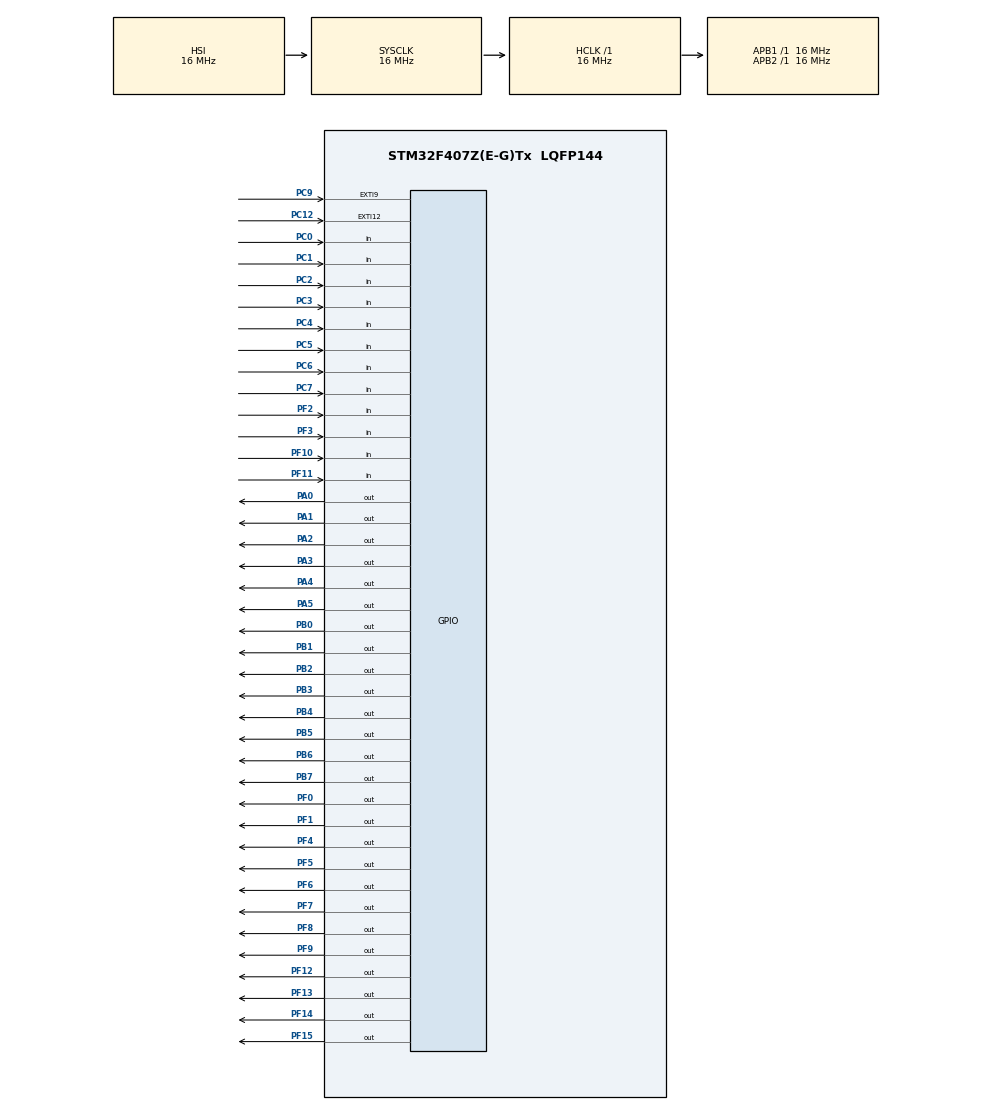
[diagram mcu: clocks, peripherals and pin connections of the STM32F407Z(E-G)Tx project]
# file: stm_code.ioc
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Mcu.Family=STM32F4
Mcu.Name=STM32F407Z(E-G)Tx
Mcu.Package=LQFP144
NVIC.EXTI15_10_IRQn=true\:0\:0\:false\:false\:true\:true\:true\:true
NVIC.EXTI9_5_IRQn=true\:0\:0\:false\:false\:true\:true\:true\:true
NVIC.PriorityGroup=NVIC_PRIORITYGROUP_4
NVIC.TIM4_IRQn=true\:0\:0\:false\:false\:true\:true\:true\:true
PA0-WKUP.Signal=GPIO_Output
PA1.Signal=GPIO_Output
PA2.Signal=GPIO_Output
PA3.Signal=GPIO_Output
PA4.Signal=GPIO_Output
PA5.Signal=GPIO_Output
PB0.Signal=GPIO_Output
PB1.Signal=GPIO_Output
PB2.Signal=GPIO_Output
PB3.Signal=GPIO_Output
PB4.Signal=GPIO_Output
PB5.Signal=GPIO_Output
PB6.Signal=GPIO_Output
PB7.Signal=GPIO_Output
PC0.Signal=GPIO_Input
PC1.Signal=GPIO_Input
PC12.Signal=GPXTI12
PC14-OSC32_IN.Mode=LSE-External-Oscillator
PC14-OSC32_IN.Signal=RCC_OSC32_IN
PC15-OSC32_OUT.Mode=LSE-External-Oscillator
PC15-OSC32_OUT.Signal=RCC_OSC32_OUT
PC2.Signal=GPIO_Input
PC3.Signal=GPIO_Input
PC4.Signal=GPIO_Input
PC5.Signal=GPIO_Input
PC6.Signal=GPIO_Input
PC7.Signal=GPIO_Input
PC9.Signal=GPXTI9
PF0.Signal=GPIO_Output
PF1.Signal=GPIO_Output
PF10.Signal=GPIO_Input
PF11.Signal=GPIO_Input
PF12.Signal=GPIO_Output
PF13.Signal=GPIO_Output
PF14.Signal=GPIO_Output
PF15.Signal=GPIO_Output
PF2.Signal=GPIO_Input
PF3.Signal=GPIO_Input
PF4.Signal=GPIO_Output
PF5.Signal=GPIO_Output
PF6.Signal=GPIO_Output
PF7.Signal=GPIO_Output
PF8.Signal=GPIO_Output
PF9.Signal=GPIO_Output
PH0-OSC_IN.Mode=HSE-External-Oscillator
PH0-OSC_IN.Signal=RCC_OSC_IN
PH1-OSC_OUT.Mode=HSE-External-Oscillator
PH1-OSC_OUT.Signal=RCC_OSC_OUT
ProjectManager.HeapSize=0x200
ProjectManager.StackSize=0x400
ProjectManager.TargetToolchain=Makefile
RCC.AHBFreq_Value=16000000
RCC.APB1Freq_Value=16000000
RCC.APB2Freq_Value=16000000
RCC.APB2TimCLKDivider=2
RCC.APB2TimFreq_Value=32000000
RCC.CortexFreq_Value=16000000
RCC.HSE_VALUE=25000000
RCC.HSI_VALUE=16000000
RCC.SYSCLKFreq_VALUE=16000000
RCC.VCOOutputFreq_Value=192000000
VP_TIM4_VS_ClockSourceINT.Mode=Internal
board=custom

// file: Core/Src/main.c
/* USER CODE BEGIN Header */
/**
  ******************************************************************************
  * @file           : main.c
  * @brief          : Main program body
  ******************************************************************************
  * @attention
  *
  * Copyright (c) 2025 STMicroelectronics.
  * All rights reserved.
  *
  * This software is licensed under terms that can be found in the LICENSE file
  * in the root directory of this software component.
  * If no LICENSE file comes with this software, it is provided AS-IS.
  *
  ******************************************************************************
  */
/* USER CODE END Header */
#include "main.h"

/* USER CODE BEGIN Includes */
#include <string.h>
/* USER CODE END Includes */

TIM_HandleTypeDef htim4;

/* USER CODE BEGIN PV */
SystemState_t sys_state = {0};
volatile uint8_t display_buffer[8] = {0};
volatile uint8_t current_digit = 0;

// 数码管段码表 (共阴数码管: 0-9, A-F)
const uint8_t DigitCode[16] = {
    0x3F, // 0
    0x06, // 1
    0x5B, // 2
    0x4F, // 3
    0x66, // 4
    0x6D, // 5
    0x7D, // 6
    0x07, // 7
    0x7F, // 8
    0x6F, // 9
    0x77, // A
    0x7C, // B
    0x39, // C
    0x5E, // D
    0x79, // E
    0x71  // F
};
/* USER CODE END PV */

void SystemClock_Config(void);
static void MX_GPIO_Init(void);
static void MX_TIM4_Init(void);

/* USER CODE BEGIN 0 */

// 74HC595发送一个字节
void HC595_SendByte(uint8_t data) {
    HAL_GPIO_WritePin(HC595_RCK_PORT, HC595_RCK_PIN, GPIO_PIN_RESET);

    for (int i = 7; i >= 0; i--) {
        HAL_GPIO_WritePin(HC595_SCK_PORT, HC595_SCK_PIN, GPIO_PIN_RESET);

        if (data & (1 << i)) {
            HAL_GPIO_WritePin(HC595_SI_PORT, HC595_SI_PIN, GPIO_PIN_SET);
        } else {
            HAL_GPIO_WritePin(HC595_SI_PORT, HC595_SI_PIN, GPIO_PIN_RESET);
        }

        HAL_GPIO_WritePin(HC595_SCK_PORT, HC595_SCK_PIN, GPIO_PIN_SET);
    }

    HAL_GPIO_WritePin(HC595_RCK_PORT, HC595_RCK_PIN, GPIO_PIN_SET);
}

// 74HC138选择数码管位
void HC138_Select(uint8_t digit) {
    HAL_GPIO_WritePin(HC138_A_PORT, HC138_A_PIN, (digit & 0x01) ? GPIO_PIN_SET : GPIO_PIN_RESET);
    HAL_GPIO_WritePin(HC138_B_PORT, HC138_B_PIN, (digit & 0x02) ? GPIO_PIN_SET : GPIO_PIN_RESET);
    HAL_GPIO_WritePin(HC138_C_PORT, HC138_C_PIN, (digit & 0x04) ? GPIO_PIN_SET : GPIO_PIN_RESET);
}

// 显示单个数码管
void Display_Digit(uint8_t digit, uint8_t value) {
    HC138_Select(digit);
    HC595_SendByte(value);
}

// 更新数码管显示 (在定时器中断中调用)
void Update_Display(void) {
    // 清除当前显示
    HC595_SendByte(0x00);

    // 选择下一位
    current_digit = (current_digit + 1) % 8;

    // 显示内容
    HC138_Select(current_digit);
    HC595_SendByte(display_buffer[current_digit]);
}

// 读取拨码开关状态
void Read_Switches(void) {
    uint8_t sw_value = (GPIOC->IDR & 0xFF); // PC0-PC7

    sys_state.write_mode = (sw_value & 0x01) ? 1 : 0;        // SW0
    sys_state.ram_select = (sw_value & 0x02) ? 1 : 0;        // SW1
    sys_state.data_to_write = (sw_value >> 2) & 0x03;        // SW2,SW3
    sys_state.addr = (sw_value >> 4) & 0x03;                 // SW4,SW5
}

// 更新LED显示
void Update_LEDs(void) {
    uint8_t led_state = 0;

    // LED0: 始终亮表示系统运行
    led_state |= 0x01;

    // LED1: 写入模式时亮
    if (sys_state.write_mode) {
        led_state |= 0x02;
    }

    // LED2: 选择RAM0时亮
    if (!sys_state.ram_select) {
        led_state |= 0x04;
    }

    // LED3: 选择RAM1时亮
    if (sys_state.ram_select) {
        led_state |= 0x08;
    }

    // LED4,LED5: 显示地址
    if (sys_state.addr & 0x01) {
        led_state |= 0x10;
    }
    if (sys_state.addr & 0x02) {
        led_state |= 0x20;
    }

    // 写入LED端口
    GPIOB->ODR = (GPIOB->ODR & 0xFF00) | led_state;
}

// RAM初始化
void RAM_Init(void) {
    // 设置初始状态
    HAL_GPIO_WritePin(RAM_CLKA_PORT, RAM_CLKA_PIN, GPIO_PIN_RESET);
    HAL_GPIO_WritePin(RAM_CLKB_PORT, RAM_CLKB_PIN, GPIO_PIN_RESET);
    HAL_GPIO_WritePin(RAM_WEA_PORT, RAM_WEA_PIN, GPIO_PIN_RESET);
    HAL_GPIO_WritePin(RAM_WEB_PORT, RAM_WEB_PIN, GPIO_PIN_RESET);

    // 使能RAM芯片
    HAL_GPIO_WritePin(RAM_ENA_PORT, RAM_ENA_PIN, GPIO_PIN_SET);
    HAL_GPIO_WritePin(RAM_ENB_PORT, RAM_ENB_PIN, GPIO_PIN_SET);
}

// 向RAM写入数据
void RAM_Write(uint8_t ram_sel, uint8_t addr, uint8_t data) {
    if (ram_sel == 0) {
        // 写入RAM0 (使用端口A)
        // 1. 设置地址
        HAL_GPIO_WritePin(RAM_ADDRA_PORT, RAM_ADDRA_PIN, (addr & 0x01) ? GPIO_PIN_SET : GPIO_PIN_RESET);
        for(volatile int i=0; i<100; i++); // 地址稳定延时

        // 2. 设置数据（在时钟上升沿之前）
        HAL_GPIO_WritePin(RAM_DIA0_PORT, RAM_DIA0_PIN, (data & 0x01) ? GPIO_PIN_SET : GPIO_PIN_RESET);
        HAL_GPIO_WritePin(RAM_DIA1_PORT, RAM_DIA1_PIN, (data & 0x02) ? GPIO_PIN_SET : GPIO_PIN_RESET);
        for(volatile int i=0; i<100; i++); // 数据稳定延时

        // 3. 拉高写使能
        HAL_GPIO_WritePin(RAM_WEA_PORT, RAM_WEA_PIN, GPIO_PIN_SET);
        for(volatile int i=0; i<100; i++); // WE稳定延时

        // 4. 时钟上升沿写入
        HAL_GPIO_WritePin(RAM_CLKA_PORT, RAM_CLKA_PIN, GPIO_PIN_RESET);
        for(volatile int i=0; i<100; i++); // 时钟低电平稳定
        HAL_GPIO_WritePin(RAM_CLKA_PORT, RAM_CLKA_PIN, GPIO_PIN_SET);
        for(volatile int i=0; i<200; i++); // 时钟高电平稳定，完成写入

        // 5. 复位所有控制信号（重要：防止代码变成一次性的）
        HAL_GPIO_WritePin(RAM_CLKA_PORT, RAM_CLKA_PIN, GPIO_PIN_RESET);
        HAL_GPIO_WritePin(RAM_WEA_PORT, RAM_WEA_PIN, GPIO_PIN_RESET);
        HAL_GPIO_WritePin(RAM_DIA0_PORT, RAM_DIA0_PIN, GPIO_PIN_RESET);
        HAL_GPIO_WritePin(RAM_DIA1_PORT, RAM_DIA1_PIN, GPIO_PIN_RESET);
        for(volatile int i=0; i<100; i++); // 确保信号复位稳定
    } else {
        // 写入RAM1 (使用端口B)
        // 1. 设置地址
        HAL_GPIO_WritePin(RAM_ADDRB_PORT, RAM_ADDRB_PIN, (addr & 0x01) ? GPIO_PIN_SET : GPIO_PIN_RESET);
        for(volatile int i=0; i<100; i++); // 地址稳定延时

        // 2. 设置数据（在时钟上升沿之前）
        HAL_GPIO_WritePin(RAM_DIB0_PORT, RAM_DIB0_PIN, (data & 0x01) ? GPIO_PIN_SET : GPIO_PIN_RESET);
        HAL_GPIO_WritePin(RAM_DIB1_PORT, RAM_DIB1_PIN, (data & 0x02) ? GPIO_PIN_SET : GPIO_PIN_RESET);
        for(volatile int i=0; i<100; i++); // 数据稳定延时

        // 3. 拉高写使能
        HAL_GPIO_WritePin(RAM_WEB_PORT, RAM_WEB_PIN, GPIO_PIN_SET);
        for(volatile int i=0; i<100; i++); // WE稳定延时

        // 4. 时钟上升沿写入
        HAL_GPIO_WritePin(RAM_CLKB_PORT, RAM_CLKB_PIN, GPIO_PIN_RESET);
        for(volatile int i=0; i<100; i++); // 时钟低电平稳定
        HAL_GPIO_WritePin(RAM_CLKB_PORT, RAM_CLKB_PIN, GPIO_PIN_SET);
        for(volatile int i=0; i<200; i++); // 时钟高电平稳定，完成写入

        // 5. 复位所有控制信号（重要：防止代码变成一次性的）
        HAL_GPIO_WritePin(RAM_CLKB_PORT, RAM_CLKB_PIN, GPIO_PIN_RESET);
        HAL_GPIO_WritePin(RAM_WEB_PORT, RAM_WEB_PIN, GPIO_PIN_RESET);
        HAL_GPIO_WritePin(RAM_DIB0_PORT, RAM_DIB0_PIN, GPIO_PIN_RESET);
        HAL_GPIO_WritePin(RAM_DIB1_PORT, RAM_DIB1_PIN, GPIO_PIN_RESET);
        for(volatile int i=0; i<100; i++); // 确保信号复位稳定
    }
}

// 从RAM读取数据
void RAM_Read(uint8_t ram_sel, uint8_t addr) {
    if (ram_sel == 0) {
        // 读取RAM0 (使用端口A)
        // 1. 使能RAM0
        HAL_GPIO_WritePin(RAM_ENA_PORT, RAM_ENA_PIN, GPIO_PIN_SET);

        // 2. 确保写使能为低（读模式）
        HAL_GPIO_WritePin(RAM_WEA_PORT, RAM_WEA_PIN, GPIO_PIN_RESET);

        // 3. 设置地址
        HAL_GPIO_WritePin(RAM_ADDRA_PORT, RAM_ADDRA_PIN, (addr & 0x01) ? GPIO_PIN_SET : GPIO_PIN_RESET);
        for(volatile int i=0; i<100; i++); // 地址稳定延时

        // 4. 时钟上升沿（触发读取）
        HAL_GPIO_WritePin(RAM_CLKA_PORT, RAM_CLKA_PIN, GPIO_PIN_RESET);
        for(volatile int i=0; i<100; i++);
        HAL_GPIO_WritePin(RAM_CLKA_PORT, RAM_CLKA_PIN, GPIO_PIN_SET);
        for(volatile int i=0; i<100; i++); // 等待数据输出稳定

        // 5. 读取输出数据
        uint8_t data = 0;
        if (HAL_GPIO_ReadPin(RAM_DOA0_PORT, RAM_DOA0_PIN)) data |= 0x01;
        if (HAL_GPIO_ReadPin(RAM_DOA1_PORT, RAM_DOA1_PIN)) data |= 0x02;
        sys_state.ram0_data = data;

        // 6. 时钟回到低电平
        HAL_GPIO_WritePin(RAM_CLKA_PORT, RAM_CLKA_PIN, GPIO_PIN_RESET);
    } else {
        // 读取RAM1 (使用端口B)
        // 1. 使能RAM1
        HAL_GPIO_WritePin(RAM_ENB_PORT, RAM_ENB_PIN, GPIO_PIN_SET);

        // 2. 确保写使能为低（读模式）
        HAL_GPIO_WritePin(RAM_WEB_PORT, RAM_WEB_PIN, GPIO_PIN_RESET);

        // 3. 设置地址
        HAL_GPIO_WritePin(RAM_ADDRB_PORT, RAM_ADDRB_PIN, (addr & 0x01) ? GPIO_PIN_SET : GPIO_PIN_RESET);
        for(volatile int i=0; i<100; i++); // 地址稳定延时

        // 4. 时钟上升沿（触发读取）
        HAL_GPIO_WritePin(RAM_CLKB_PORT, RAM_CLKB_PIN, GPIO_PIN_RESET);
        for(volatile int i=0; i<100; i++);
        HAL_GPIO_WritePin(RAM_CLKB_PORT, RAM_CLKB_PIN, GPIO_PIN_SET);
        for(volatile int i=0; i<100; i++); // 等待数据输出稳定

        // 5. 读取输出数据
        uint8_t data = 0;
        if (HAL_GPIO_ReadPin(RAM_DOB0_PORT, RAM_DOB0_PIN)) data |= 0x01;
        if (HAL_GPIO_ReadPin(RAM_DOB1_PORT, RAM_DOB1_PIN)) data |= 0x02;
        sys_state.ram1_data = data;

        // 6. 时钟回到低电平
        HAL_GPIO_WritePin(RAM_CLKB_PORT, RAM_CLKB_PIN, GPIO_PIN_RESET);
    }
}

// 更新数码管显示缓冲区
void Update_Display_Buffer(void) {
    // 数码管从右到左: 位1(buffer[0])到位8(buffer[7])
    // 位1-4: 展示RAM数据 (格式: RAM0.RAM1，即 bit1 bit0 . bit1 bit0)
    // 位7-8: 展示待写入数据 (格式: bit1 bit0)

    // 位1: RAM1 bit0
    display_buffer[0] = (sys_state.ram1_data & 0x01) ? DigitCode[1] : DigitCode[0];

    // 位2: RAM1 bit1
    display_buffer[1] = (sys_state.ram1_data & 0x02) ? DigitCode[1] : DigitCode[0];

    // 位3: RAM0 bit0 + 小数点
    display_buffer[2] = ((sys_state.ram0_data & 0x01) ? DigitCode[1] : DigitCode[0]) | 0x80;

    // 位4: RAM0 bit1
    display_buffer[3] = (sys_state.ram0_data & 0x02) ? DigitCode[1] : DigitCode[0];

    // 位5-6: 保留，清零
    display_buffer[4] = 0x00;
    display_buffer[5] = 0x00;

    // 位7: 待写入数据 bit0
    display_buffer[6] = (sys_state.data_to_write & 0x01) ? DigitCode[1] : DigitCode[0];

    // 位8: 待写入数据 bit1
    display_buffer[7] = (sys_state.data_to_write & 0x02) ? DigitCode[1] : DigitCode[0];
}

/* USER CODE END 0 */

int main(void)
{

  /* MCU Configuration--------------------------------------------------------*/

  /* Reset of all peripherals, Initializes the Flash interface and the Systick. */
  HAL_Init();

  /* Configure the system clock */
  SystemClock_Config();

  /* Initialize all configured peripherals */
  MX_GPIO_Init();
  MX_TIM4_Init();
  /* USER CODE BEGIN 2 */
  // 初始化RAM
  RAM_Init();

  // 启动定时器中断 (用于数码管扫描)
  HAL_TIM_Base_Start_IT(&htim4);

  // 短延时，等待系统稳定
  HAL_Delay(10);

  // 初始读取数据
  RAM_Read(0, sys_state.addr);
  RAM_Read(1, sys_state.addr);

  /* USER CODE END 2 */

  /* Infinite loop */
  while (1)
  {

    /* USER CODE BEGIN 3 */
    // 读取拨码开关状态
    Read_Switches();

    // 更新LED显示
    Update_LEDs();

    // 从RAM读取数据
    RAM_Read(0, sys_state.addr);
    RAM_Read(1, sys_state.addr);

    // 更新数码管显示缓冲
    Update_Display_Buffer();

    HAL_Delay(50); // 主循环延时
  }
  /* USER CODE END 3 */
}

void SystemClock_Config(void)
{
  RCC_OscInitTypeDef RCC_OscInitStruct = {0};
  RCC_ClkInitTypeDef RCC_ClkInitStruct = {0};

  /** Configure the main internal regulator output voltage
  */
  __HAL_RCC_PWR_CLK_ENABLE();
  __HAL_PWR_VOLTAGESCALING_CONFIG(PWR_REGULATOR_VOLTAGE_SCALE1);

  /** Initializes the RCC Oscillators according to the specified parameters
  * in the RCC_OscInitTypeDef structure.
  */
  RCC_OscInitStruct.OscillatorType = RCC_OSCILLATORTYPE_HSI;
  RCC_OscInitStruct.HSIState = RCC_HSI_ON;
  RCC_OscInitStruct.HSICalibrationValue = RCC_HSICALIBRATION_DEFAULT;
  RCC_OscInitStruct.PLL.PLLState = RCC_PLL_NONE;
  if (HAL_RCC_OscConfig(&RCC_OscInitStruct) != HAL_OK)
  {
    Error_Handler();
  }

  /** Initializes the CPU, AHB and APB buses clocks
  */
  RCC_ClkInitStruct.ClockType = RCC_CLOCKTYPE_HCLK|RCC_CLOCKTYPE_SYSCLK
                              |RCC_CLOCKTYPE_PCLK1|RCC_CLOCKTYPE_PCLK2;
  RCC_ClkInitStruct.SYSCLKSource = RCC_SYSCLKSOURCE_HSI;
  RCC_ClkInitStruct.AHBCLKDivider = RCC_SYSCLK_DIV1;
  RCC_ClkInitStruct.APB1CLKDivider = RCC_HCLK_DIV1;
  RCC_ClkInitStruct.APB2CLKDivider = RCC_HCLK_DIV1;

  if (HAL_RCC_ClockConfig(&RCC_ClkInitStruct, FLASH_LATENCY_0) != HAL_OK)
  {
    Error_Handler();
  }
}

static void MX_TIM4_Init(void)
{

  TIM_ClockConfigTypeDef sClockSourceConfig = {0};
  TIM_MasterConfigTypeDef sMasterConfig = {0};

  htim4.Instance = TIM4;
  htim4.Init.Prescaler = 81;  // 82MHz / 82 = 1MHz
  htim4.Init.CounterMode = TIM_COUNTERMODE_UP;
  htim4.Init.Period = 999;    // 1MHz / 1000 = 1kHz (1ms中断)
  htim4.Init.ClockDivision = TIM_CLOCKDIVISION_DIV1;
  htim4.Init.AutoReloadPreload = TIM_AUTORELOAD_PRELOAD_ENABLE;
  if (HAL_TIM_Base_Init(&htim4) != HAL_OK)
  {
    Error_Handler();
  }
  sClockSourceConfig.ClockSource = TIM_CLOCKSOURCE_INTERNAL;
  if (HAL_TIM_ConfigClockSource(&htim4, &sClockSourceConfig) != HAL_OK)
  {
    Error_Handler();
  }
  sMasterConfig.MasterOutputTrigger = TIM_TRGO_RESET;
  sMasterConfig.MasterSlaveMode = TIM_MASTERSLAVEMODE_DISABLE;
  if (HAL_TIMEx_MasterConfigSynchronization(&htim4, &sMasterConfig) != HAL_OK)
  {
    Error_Handler();
  }

}

static void MX_GPIO_Init(void)
{
  GPIO_InitTypeDef GPIO_InitStruct = {0};

  /* GPIO Ports Clock Enable */
  __HAL_RCC_GPIOC_CLK_ENABLE();
  __HAL_RCC_GPIOF_CLK_ENABLE();
  __HAL_RCC_GPIOH_CLK_ENABLE();
  __HAL_RCC_GPIOA_CLK_ENABLE();
  __HAL_RCC_GPIOB_CLK_ENABLE();

  /*Configure GPIO pin Output Level */
  HAL_GPIO_WritePin(GPIOF, GPIO_PIN_0|GPIO_PIN_1|GPIO_PIN_4|GPIO_PIN_5
                          |GPIO_PIN_6|GPIO_PIN_7|GPIO_PIN_8|GPIO_PIN_9
                          |GPIO_PIN_12|GPIO_PIN_13|GPIO_PIN_14|GPIO_PIN_15, GPIO_PIN_RESET);

  /*Configure GPIO pin Output Level */
  HAL_GPIO_WritePin(GPIOA, GPIO_PIN_0|GPIO_PIN_1|GPIO_PIN_2|GPIO_PIN_3
                          |GPIO_PIN_4|GPIO_PIN_5, GPIO_PIN_RESET);

  /*Configure GPIO pin Output Level */
  HAL_GPIO_WritePin(GPIOB, GPIO_PIN_0|GPIO_PIN_1|GPIO_PIN_2|GPIO_PIN_3
                          |GPIO_PIN_4|GPIO_PIN_5|GPIO_PIN_6|GPIO_PIN_7, GPIO_PIN_RESET);

  /*Configure GPIO pins : PF0 PF1 PF4 PF5
                           PF6 PF7 PF8 PF9
                           PF12 PF13 PF14 PF15 */
  GPIO_InitStruct.Pin = GPIO_PIN_0|GPIO_PIN_1|GPIO_PIN_4|GPIO_PIN_5
                          |GPIO_PIN_6|GPIO_PIN_7|GPIO_PIN_8|GPIO_PIN_9
                          |GPIO_PIN_12|GPIO_PIN_13|GPIO_PIN_14|GPIO_PIN_15;
  GPIO_InitStruct.Mode = GPIO_MODE_OUTPUT_PP;
  GPIO_InitStruct.Pull = GPIO_NOPULL;
  GPIO_InitStruct.Speed = GPIO_SPEED_FREQ_LOW;
  HAL_GPIO_Init(GPIOF, &GPIO_InitStruct);

  /*Configure GPIO pins : PF2 PF3 PF10 PF11 */
  GPIO_InitStruct.Pin = GPIO_PIN_2|GPIO_PIN_3|GPIO_PIN_10|GPIO_PIN_11;
  GPIO_InitStruct.Mode = GPIO_MODE_INPUT;
  GPIO_InitStruct.Pull = GPIO_NOPULL;
  HAL_GPIO_Init(GPIOF, &GPIO_InitStruct);

  /*Configure GPIO pins : PC0 PC1 PC2 PC3
                           PC4 PC5 PC6 PC7 */
  GPIO_InitStruct.Pin = GPIO_PIN_0|GPIO_PIN_1|GPIO_PIN_2|GPIO_PIN_3
                          |GPIO_PIN_4|GPIO_PIN_5|GPIO_PIN_6|GPIO_PIN_7;
  GPIO_InitStruct.Mode = GPIO_MODE_INPUT;
  GPIO_InitStruct.Pull = GPIO_NOPULL;
  HAL_GPIO_Init(GPIOC, &GPIO_InitStruct);

  /*Configure GPIO pins : PA0 PA1 PA2 PA3
                           PA4 PA5 */
  GPIO_InitStruct.Pin = GPIO_PIN_0|GPIO_PIN_1|GPIO_PIN_2|GPIO_PIN_3
                          |GPIO_PIN_4|GPIO_PIN_5;
  GPIO_InitStruct.Mode = GPIO_MODE_OUTPUT_PP;
  GPIO_InitStruct.Pull = GPIO_NOPULL;
  GPIO_InitStruct.Speed = GPIO_SPEED_FREQ_LOW;
  HAL_GPIO_Init(GPIOA, &GPIO_InitStruct);

  /*Configure GPIO pins : PB0 PB1 PB2 PB3
                           PB4 PB5 PB6 PB7 */
  GPIO_InitStruct.Pin = GPIO_PIN_0|GPIO_PIN_1|GPIO_PIN_2|GPIO_PIN_3
                          |GPIO_PIN_4|GPIO_PIN_5|GPIO_PIN_6|GPIO_PIN_7;
  GPIO_InitStruct.Mode = GPIO_MODE_OUTPUT_PP;
  GPIO_InitStruct.Pull = GPIO_NOPULL;
  GPIO_InitStruct.Speed = GPIO_SPEED_FREQ_LOW;
  HAL_GPIO_Init(GPIOB, &GPIO_InitStruct);

  /*Configure GPIO pins : PC9 PC12 */
  GPIO_InitStruct.Pin = GPIO_PIN_9|GPIO_PIN_12;
  GPIO_InitStruct.Mode = GPIO_MODE_IT_RISING;
  GPIO_InitStruct.Pull = GPIO_NOPULL;
  HAL_GPIO_Init(GPIOC, &GPIO_InitStruct);

  /* EXTI interrupt init*/
  HAL_NVIC_SetPriority(EXTI9_5_IRQn, 0, 0);
  HAL_NVIC_EnableIRQ(EXTI9_5_IRQn);

  HAL_NVIC_SetPriority(EXTI15_10_IRQn, 0, 0);
  HAL_NVIC_EnableIRQ(EXTI15_10_IRQn);

}

/* USER CODE BEGIN 4 */

// GPIO外部中断回调函数
void HAL_GPIO_EXTI_Callback(uint16_t GPIO_Pin) {
    static uint32_t last_btn0_time = 0;
    static uint32_t last_btn1_time = 0;
    uint32_t current_time = HAL_GetTick();

    if (GPIO_Pin == GPIO_PIN_9) {
        // 按钮0 (PC9): 写入数据到选定的RAM
        // 软件消抖：50ms内的重复触发忽略
        if (current_time - last_btn0_time > 50) {
            if (sys_state.write_mode) {
                RAM_Write(sys_state.ram_select, sys_state.addr, sys_state.data_to_write);
                // 写入后立即读取，更新显示
                RAM_Read(sys_state.ram_select, sys_state.addr);
            }
            last_btn0_time = current_time;
        }
    }
    else if (GPIO_Pin == GPIO_PIN_12) {
        // 按钮1 (PC12): 异或操作
        // 软件消抖：50ms内的重复触发忽略
        if (current_time - last_btn1_time > 50) {
            // 从两个RAM读取数据
            RAM_Read(0, sys_state.addr);
            RAM_Read(1, sys_state.addr);

            // 异或操作
            uint8_t xor_result = sys_state.ram0_data ^ sys_state.ram1_data;

            // 写回到选定的RAM
            RAM_Write(sys_state.ram_select, sys_state.addr, xor_result);

            // 写入后立即读取，更新显示
            RAM_Read(0, sys_state.addr);
            RAM_Read(1, sys_state.addr);

            last_btn1_time = current_time;
        }
    }
}

// 定时器中断回调函数 (用于数码管扫描)
void HAL_TIM_PeriodElapsedCallback(TIM_HandleTypeDef *htim) {
    if (htim->Instance == TIM4) {
        Update_Display();
    }
}

/* USER CODE END 4 */

void Error_Handler(void)
{
  __disable_irq();
  while (1)
  {
  }
}
